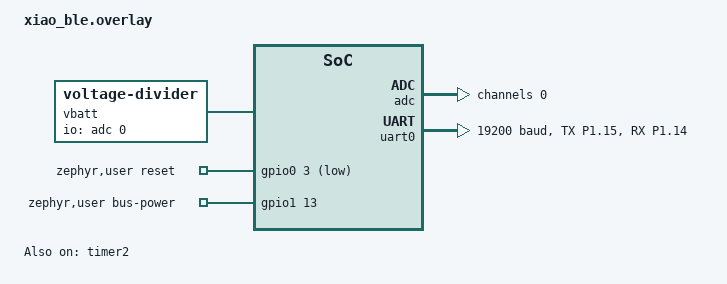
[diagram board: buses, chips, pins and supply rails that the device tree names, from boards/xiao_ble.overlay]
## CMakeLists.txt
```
cmake_minimum_required(VERSION 3.20.0)

find_package(Zephyr REQUIRED HINTS $ENV{ZEPHYR_BASE})

project(espaxa_zigbee)

target_sources(app PRIVATE
	src/main.c
	src/axa.c
	src/motion.c
	src/battery_level.c
)

target_sources_ifdef(CONFIG_ESPAXA_BATTERY app PRIVATE src/battery.c)
```

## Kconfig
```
menu "ESPAXA"

config ESPAXA_UNLOCK_DURATION_MS
	int "Time between OPEN and the chain starting to move (unlocking)"
	range 0 60000
	default 10000

config ESPAXA_OPEN_DURATION_MS
	int "Time for the chain to travel from closed to fully open"
	range 1000 600000
	default 50000

config ESPAXA_LOCK_DURATION_MS
	int "Time after reaching closed before the window is locked"
	range 0 120000
	default 45000
	help
	  Upper bound only: a STATUS of 211 ends the wait early. Measured 22 to
	  32 s after the estimate reached closed (2026-10-30 and 2026-11-01).

config ESPAXA_RELEASE_BEFORE_CLOSE
	bool "Send a short OPEN before each CLOSE"
	default y
	help
	  From galagaking/espaxa: the AXA blocks at its end position and an
	  OPEN releases it. On this unit the pair has twice made the AXA open
	  instead of close, from fully open and from closed.

config ESPAXA_STATUS_INTERVAL_MS
	int "AXA STATUS poll interval while idle"
	range 10000 86400000
	default 600000
	help
	  Detects use of the buttons on the AXA itself. Every poll wakes the
	  AXA, so keep this long on batteries.

config ESPAXA_BUS_POWER_SETTLE_MS
	int "Delay after switching on the AXA bus pull-up"
	range 0 1000
	default 50
	help
	  D8 switches battery voltage onto RJ12 pin 1, which feeds the
	  AXA's bus pull-up, for each serial exchange. This waits for pin 1
	  and DATA to rise before the wake-up newline.

config ESPAXA_MOVING_STATUS_INTERVAL_MS
	int "AXA STATUS poll interval while moving"
	range 500 60000
	default 2000
	help
	  Detects locking before the lock timer runs out.

config ESPAXA_ACTIVITY_LED
	bool "Blink the activity LED while the AXA is busy"
	default y
	help
	  Blinks the LED with the devicetree alias activity-led (the blue
	  LED) during serial exchanges with the AXA and while it moves.
	  Off in the battery build (overlay-battery.conf); there the pin
	  stays unconfigured and the LED dark.

config ESPAXA_BATTERY
	bool "Report the battery level"
	default y
	depends on DT_HAS_VOLTAGE_DIVIDER_ENABLED
	select SENSOR
	help
	  Measures the NiMH pack through the voltage divider on D0 (node
	  vbatt in the board overlay) and reports BatteryVoltage and
	  BatteryPercentageRemaining in a Power Configuration cluster. Without
	  the divider fitted the reading is near 0 V and both are reported as
	  unknown.

config ESPAXA_BATTERY_INTERVAL_MS
	int "Battery measurement interval"
	depends on ESPAXA_BATTERY
	range 60000 86400000
	default 3600000
	help
	  The measurement waits until the AXA has been quiet for a minute,
	  the pack sags while the motor runs.

config ESPAXA_BATTERY_CELLS
	int "NiMH cells in series"
	depends on ESPAXA_BATTERY
	range 1 8
	default 4

config ESPAXA_ZIGBEE_POLL_INTERVAL_MS
	int "Zigbee parent poll interval"
	range 250 7500
	default 5000
	help
	  How often the sleepy end device asks its parent for pending
	  commands, the worst case delay for a command from Home Assistant.
	  Parents drop buffered frames after about 7.7 s, keep this below.

endmenu

module = ESPAXA
module-str = ESPAXA
source "subsys/logging/Kconfig.template.log_config"

source "Kconfig.zephyr"
```

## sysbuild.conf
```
# Fixed partitions come from the board overlay
SB_CONFIG_PARTITION_MANAGER=n
```

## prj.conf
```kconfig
# Default build: logging on the USB serial console, for bring-up.
# For the battery build add overlay-battery.conf, see README.

CONFIG_ZIGBEE_ADD_ON=y
CONFIG_ZIGBEE_APP_UTILS=y
CONFIG_ZIGBEE_ROLE_END_DEVICE=y
# Scan all channels, the coordinator picks its own (Nordic defaults to 16 only)
CONFIG_ZIGBEE_CHANNEL_SELECTION_MODE_MULTI=y

CONFIG_SERIAL=y
CONFIG_UART_INTERRUPT_DRIVEN=y
# The AXA needs 8N2, set with uart_configure(). Nordic SoCs default this off,
# uart_configure() then fails with -ENOTSUP and the AXA thread never starts.
CONFIG_UART_USE_RUNTIME_CONFIGURE=y
CONFIG_GPIO=y
# Reset cause for the boot message
CONFIG_HWINFO=y

# Suspend the AXA UART between transactions, its receiver keeps the
# high frequency clock running otherwise
CONFIG_PM_DEVICE=y
CONFIG_RAM_POWER_DOWN_LIBRARY=y

CONFIG_HEAP_MEM_POOL_SIZE=2048
CONFIG_MAIN_THREAD_PRIORITY=7
CONFIG_SYSTEM_WORKQUEUE_STACK_SIZE=2048

# USB serial console with logging
CONFIG_BOARD_SERIAL_BACKEND_CDC_ACM=y
CONFIG_CONSOLE=y
CONFIG_UART_CONSOLE=y
CONFIG_LOG=y
CONFIG_ESPAXA_LOG_LEVEL_DBG=y
# Detect a terminal opening the console (DTR), to repeat the boot message
CONFIG_UART_LINE_CTRL=y

# Room for the bus traces of a whole exchange with retries
CONFIG_LOG_BUFFER_SIZE=16384

# Debug shell on the USB console: axa open/close/stop/goto, and bootloader.
# Logs go through the shell's backend.
CONFIG_SHELL=y
CONFIG_SHELL_BACKEND_SERIAL=y
CONFIG_SHELL_BACKEND_SERIAL_CHECK_DTR=y
CONFIG_SHELL_VT100_COLORS=n
CONFIG_SHELL_PROMPT_UART="axa> "
CONFIG_LOG_BACKEND_UART=n
CONFIG_REBOOT=y
```

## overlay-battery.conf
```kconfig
# Battery build: no USB, no console, no logging, no LED

CONFIG_BOARD_SERIAL_BACKEND_CDC_ACM=n
CONFIG_CONSOLE=n
CONFIG_UART_CONSOLE=n
CONFIG_LOG=n
CONFIG_UART_LINE_CTRL=n
CONFIG_ESPAXA_ACTIVITY_LED=n
CONFIG_SHELL=n
CONFIG_LOG_BACKEND_UART=n
```

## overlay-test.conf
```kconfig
# Bench testing: poll STATUS every 30 s while idle instead of every 10 min,
# so use of the AXA buttons shows up quickly. Not for battery use.
CONFIG_ESPAXA_STATUS_INTERVAL_MS=30000
```

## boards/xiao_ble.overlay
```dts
/*
 * Seeed XIAO nRF52840
 *
 * AXA data line: a single-wire bus. D10 (TX, P1.15) and D9 (RX, P1.14) are tied
 * together and the common line goes to the level shifter. TX is open drain,
 * so the pull-ups (the AXA's own, the shifter's on the 3.3 V side) hold the
 * line high and either side can pull it low; a push-pull TX would fight the
 * AXA's replies. RX hears our own
 * transmissions too, the echo is skipped in axa.c.
 * Factory reset: connect D1 (P0.03) to GND while resetting.
 * Activity LED: the blue LED of the RGB LED (P0.06), see CONFIG_ESPAXA_ACTIVITY_LED.
 * Battery: battery bay + -- 4.7M -- D0 (P0.02, AIN0) -- 2.2M -- GND, with 100 nF
 * from D0 to GND. The XIAO's own battery sense (P0.31) measures the LiPo pad,
 * so it cannot see the AXA's battery pack.
 */

#include <zephyr/dt-bindings/adc/adc.h>
#include <zephyr/dt-bindings/adc/nrf-saadc.h>

/ {
	chosen {
		ncs,zigbee-timer = &timer2;
	};

	/*
	 * Divider ratio 2.2 / 6.9: 6.6 V (4 fresh alkaline cells) -> 2.1 V at D0,
	 * inside the 3.6 V range. It draws under 1 uA. The capacitor supplies the ADC's
	 * sampling charge, the divider alone is too high-impedance for it.
	 */
	vbatt: vbatt {
		compatible = "voltage-divider";
		io-channels = <&adc 0>;
		output-ohms = <2200000>;
		full-ohms = <(4700000 + 2200000)>;
	};

	zephyr,user {
		reset-gpios = <&gpio0 3 (GPIO_PULL_UP | GPIO_ACTIVE_LOW)>;
		/*
		 * D8 (P1.13): switches battery voltage onto RJ12 pin 1 during an
		 * exchange. The AXA's bus pull-up hangs off pin 1, which is dead on
		 * batteries. See HARDWARE.md.
		 */
		bus-power-gpios = <&gpio1 13 GPIO_ACTIVE_HIGH>;
	};

	aliases {
		axa-uart = &uart0;
		activity-led = &led2;
	};
};

&adc {
	#address-cells = <1>;
	#size-cells = <0>;

	channel@0 {
		reg = <0>;
		zephyr,gain = "ADC_GAIN_1_6";
		zephyr,reference = "ADC_REF_INTERNAL";
		zephyr,acquisition-time = <ADC_ACQ_TIME(ADC_ACQ_TIME_MICROSECONDS, 40)>;
		zephyr,input-positive = <NRF_SAADC_AIN0>;
		zephyr,resolution = <12>;
		zephyr,oversampling = <4>;
	};
};

&timer2 {
	status = "okay";
};

&pinctrl {
	uart0_axa_default: uart0_axa_default {
		group1 {
			psels = <NRF_PSEL(UART_TX, 1, 15)>;
			/*
			 * Open drain with high drive low: release for high, pull low
			 * with at least 6 mA at 0.4 V. Worst case the pin sinks about
			 * 2.1 mA (3.9 kOhm AXA pull-up at 6.6 V, plus the RX pull-up),
			 * more than standard drive guarantees (1 mA). See HARDWARE.md.
			 */
			nordic,drive-mode = <NRF_DRIVE_H0D1>;
		};

		group2 {
			psels = <NRF_PSEL(UART_RX, 1, 14)>;
			bias-pull-up;
		};
	};

	uart0_axa_sleep: uart0_axa_sleep {
		group1 {
			psels = <NRF_PSEL(UART_TX, 1, 15)>,
				<NRF_PSEL(UART_RX, 1, 14)>;
			low-power-enable;
		};
	};
};

&uart0 {
	current-speed = <19200>;
	pinctrl-0 = <&uart0_axa_default>;
	pinctrl-1 = <&uart0_axa_sleep>;
	pinctrl-names = "default", "sleep";
};

/* The board's SPI bus uses D8-D10; D9 and D10 are the AXA bus now */
&spi2 {
	status = "disabled";
};

/*
 * Zigbee needs two partitions on top of settings storage. Take them from the
 * end of the application area, the UF2 bootloader and SoftDevice areas stay.
 *
 * 0x00000 SoftDevice area   (156 kB, unused but kept for the UF2 bootloader)
 * 0x27000 Application       (752 kB)
 * 0xe3000 Storage           (8 kB)
 * 0xe5000 ZBOSS NVRAM       (32 kB)
 * 0xed000 ZBOSS product cfg (4 kB)
 * 0xf4000 UF2 bootloader    (48 kB)
 */
/delete-node/ &code_partition;
/delete-node/ &storage_partition;

&flash0 {
	partitions {
		code_partition: partition@27000 {
			label = "Application";
			reg = <0x00027000 0x000bc000>;
		};

		storage_partition: partition@e3000 {
			label = "Storage";
			reg = <0x000e3000 0x00002000>;
		};

		zboss_nvram: partition@e5000 {
			label = "zboss-nvram";
			reg = <0x000e5000 0x00008000>;
		};

		zboss_product_config: partition@ed000 {
			label = "zboss-product-config";
			reg = <0x000ed000 0x00001000>;
		};
	};
};
```

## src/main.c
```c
/*
 * ESPAXA Zigbee: AXA Remote 2.0 as a battery powered Zigbee window covering
 *
 * Sleepy end device with a Window Covering cluster. The AXA side lives in
 * axa.c, this file maps Zigbee commands onto it and reports the position.
 * A Binary Input cluster reports whether the AXA confirms Strong Locked.
 *
 * Zigbee lift percentage is inverted: 0 = fully open, 100 = fully closed.
 */

#include <zephyr/drivers/gpio.h>
#include <zephyr/drivers/hwinfo.h>
#include <zephyr/drivers/uart.h>
#include <zephyr/kernel.h>
#include <zephyr/logging/log.h>
#include <zephyr/sys/atomic.h>
#include <ram_pwrdn.h>

/* Enables the HA Window Covering device declarations in ZBOSS */
#define ZB_HA_DEFINE_DEVICE_WINDOW_COVERING

#include <zboss_api.h>
#include <zboss_api_addons.h>
#include <zb_nrf_platform.h>
#include <zigbee/zigbee_app_utils.h>
#include <zigbee/zigbee_error_handler.h>

#include "axa.h"
#include "battery.h"
#include "battery_level.h"

LOG_MODULE_REGISTER(app, CONFIG_ESPAXA_LOG_LEVEL);

#define ESPAXA_ENDPOINT 1

/*
 * The HA Window Covering device (5 server clusters), plus Binary Input for
 * the lock and Power Configuration for the battery. Plain numbers: ZBOSS
 * pastes them into type names.
 */
#if defined(CONFIG_ESPAXA_BATTERY)
#define ESPAXA_BATTERY_CLUSTERS 1
#define ESPAXA_IN_CLUSTER_NUM 7
#else
#define ESPAXA_BATTERY_CLUSTERS 0
#define ESPAXA_IN_CLUSTER_NUM 6
#endif
#define ESPAXA_OUT_CLUSTER_NUM 0
/* Battery voltage and percentage remaining are reportable */
#define ESPAXA_REPORT_ATTR_COUNT \
	(ZB_HA_WINDOW_COVERING_REPORT_ATTR_COUNT + ZB_ZCL_BINARY_INPUT_REPORT_ATTR_COUNT + \
	 2 * ESPAXA_BATTERY_CLUSTERS)

/* ZCL: BatteryVoltage in 100 mV, 0xFF and BatteryPercentageRemaining 0xFF = unknown */
#define BATTERY_UNKNOWN 0xFF

#define ESPAXA_MANUF_NAME "espaxa"
#define ESPAXA_MODEL_ID "AXA Remote 2.0"

static const struct gpio_dt_spec reset_pin =
	GPIO_DT_SPEC_GET(DT_PATH(zephyr_user), reset_gpios);

struct espaxa_ctx {
	zb_zcl_basic_attrs_ext_t basic;
	zb_zcl_identify_attrs_t identify;
	zb_uint8_t groups_name_support;
	struct {
		zb_uint8_t scene_count;
		zb_uint8_t current_scene;
		zb_uint16_t current_group;
		zb_bool_t scene_valid;
		zb_uint8_t name_support;
	} scenes;
	struct {
		zb_uint8_t type;
		zb_uint8_t config_status;
		zb_uint8_t lift_percentage;
		zb_uint8_t tilt_percentage;
		zb_uint16_t open_limit_lift;
		zb_uint16_t closed_limit_lift;
		zb_uint16_t open_limit_tilt;
		zb_uint16_t closed_limit_tilt;
		zb_uint8_t mode;
	} wc;
	struct {
		zb_bool_t out_of_service;
		zb_bool_t present_value;
		zb_uint8_t status_flag;
	} lock;
	struct {
		zb_uint8_t voltage;
		zb_uint8_t size;
		zb_uint8_t quantity;
		zb_uint8_t rated_voltage;
		zb_uint8_t remaining;
	} power;
};

static struct espaxa_ctx ctx;

ZB_ZCL_DECLARE_BASIC_ATTRIB_LIST_EXT(
	basic_attr_list,
	&ctx.basic.zcl_version,
	&ctx.basic.app_version,
	&ctx.basic.stack_version,
	&ctx.basic.hw_version,
	ctx.basic.mf_name,
	ctx.basic.model_id,
	ctx.basic.date_code,
	&ctx.basic.power_source,
	ctx.basic.location_id,
	&ctx.basic.ph_env,
	ctx.basic.sw_ver);

ZB_ZCL_DECLARE_IDENTIFY_ATTRIB_LIST(
	identify_attr_list,
	&ctx.identify.identify_time);

ZB_ZCL_DECLARE_GROUPS_ATTRIB_LIST(
	groups_attr_list,
	&ctx.groups_name_support);

ZB_ZCL_DECLARE_SCENES_ATTRIB_LIST(
	scenes_attr_list,
	&ctx.scenes.scene_count,
	&ctx.scenes.current_scene,
	&ctx.scenes.current_group,
	&ctx.scenes.scene_valid,
	&ctx.scenes.name_support);

ZB_ZCL_DECLARE_WINDOW_COVERING_CLUSTER_ATTRIB_LIST(
	window_covering_attr_list,
	&ctx.wc.type,
	&ctx.wc.config_status,
	&ctx.wc.lift_percentage,
	&ctx.wc.tilt_percentage,
	&ctx.wc.open_limit_lift,
	&ctx.wc.closed_limit_lift,
	&ctx.wc.open_limit_tilt,
	&ctx.wc.closed_limit_tilt,
	&ctx.wc.mode);

/*
 * Present value 1 = not Strong Locked, 0 = Strong Locked (211): the polarity of
 * Home Assistant's lock device class, where on means unlocked
 */
ZB_ZCL_DECLARE_BINARY_INPUT_ATTRIB_LIST(
	lock_attr_list,
	&ctx.lock.out_of_service,
	&ctx.lock.present_value,
	&ctx.lock.status_flag);

#if defined(CONFIG_ESPAXA_BATTERY)
/*
 * Declared by hand: ZBOSS's battery list macros either lack the percentage or
 * do not expand (ZB_ZCL_DECLARE_POWER_CONFIG_BATTERY_ATTRIB_LIST_EXT passes a
 * literal "bat_num"). BatteryVoltage is made reportable here, ZBOSS's own
 * descriptor for it is read-only without reporting.
 */
ZB_ZCL_START_DECLARE_ATTRIB_LIST_CLUSTER_REVISION(power_config_attr_list, ZB_ZCL_POWER_CONFIG)
	{
		ZB_ZCL_ATTR_POWER_CONFIG_BATTERY_VOLTAGE_ID,
		ZB_ZCL_ATTR_TYPE_U8,
		ZB_ZCL_ATTR_ACCESS_READ_ONLY | ZB_ZCL_ATTR_ACCESS_REPORTING,
		ZB_ZCL_NON_MANUFACTURER_SPECIFIC,
		(void *)&ctx.power.voltage,
	},
	ZB_SET_ATTR_DESCR_WITH_ZB_ZCL_ATTR_POWER_CONFIG_BATTERY_SIZE_ID(&ctx.power.size, ),
	ZB_SET_ATTR_DESCR_WITH_ZB_ZCL_ATTR_POWER_CONFIG_BATTERY_QUANTITY_ID(&ctx.power.quantity, ),
	ZB_SET_ATTR_DESCR_WITH_ZB_ZCL_ATTR_POWER_CONFIG_BATTERY_RATED_VOLTAGE_ID(
		&ctx.power.rated_voltage, ),
	ZB_SET_ATTR_DESCR_WITH_ZB_ZCL_ATTR_POWER_CONFIG_BATTERY_PERCENTAGE_REMAINING_ID(
		&ctx.power.remaining, ),
ZB_ZCL_FINISH_DECLARE_ATTRIB_LIST;
#endif

/* As ZB_HA_DECLARE_WINDOW_COVERING_CLUSTER_LIST, plus Power Configuration */
static zb_zcl_cluster_desc_t espaxa_clusters[] = {
	ZB_ZCL_CLUSTER_DESC(ZB_ZCL_CLUSTER_ID_IDENTIFY, ZB_ZCL_ARRAY_SIZE(identify_attr_list, zb_zcl_attr_t),
			    (identify_attr_list), ZB_ZCL_CLUSTER_SERVER_ROLE, ZB_ZCL_MANUF_CODE_INVALID),
	ZB_ZCL_CLUSTER_DESC(ZB_ZCL_CLUSTER_ID_BASIC, ZB_ZCL_ARRAY_SIZE(basic_attr_list, zb_zcl_attr_t),
			    (basic_attr_list), ZB_ZCL_CLUSTER_SERVER_ROLE, ZB_ZCL_MANUF_CODE_INVALID),
	ZB_ZCL_CLUSTER_DESC(ZB_ZCL_CLUSTER_ID_WINDOW_COVERING, ZB_ZCL_ARRAY_SIZE(window_covering_attr_list, zb_zcl_attr_t),
			    (window_covering_attr_list), ZB_ZCL_CLUSTER_SERVER_ROLE, ZB_ZCL_MANUF_CODE_INVALID),
	ZB_ZCL_CLUSTER_DESC(ZB_ZCL_CLUSTER_ID_SCENES, ZB_ZCL_ARRAY_SIZE(scenes_attr_list, zb_zcl_attr_t),
			    (scenes_attr_list), ZB_ZCL_CLUSTER_SERVER_ROLE, ZB_ZCL_MANUF_CODE_INVALID),
	ZB_ZCL_CLUSTER_DESC(ZB_ZCL_CLUSTER_ID_GROUPS, ZB_ZCL_ARRAY_SIZE(groups_attr_list, zb_zcl_attr_t),
			    (groups_attr_list), ZB_ZCL_CLUSTER_SERVER_ROLE, ZB_ZCL_MANUF_CODE_INVALID),
	ZB_ZCL_CLUSTER_DESC(ZB_ZCL_CLUSTER_ID_BINARY_INPUT, ZB_ZCL_ARRAY_SIZE(lock_attr_list, zb_zcl_attr_t),
			    (lock_attr_list), ZB_ZCL_CLUSTER_SERVER_ROLE, ZB_ZCL_MANUF_CODE_INVALID),
#if defined(CONFIG_ESPAXA_BATTERY)
	ZB_ZCL_CLUSTER_DESC(ZB_ZCL_CLUSTER_ID_POWER_CONFIG, ZB_ZCL_ARRAY_SIZE(power_config_attr_list, zb_zcl_attr_t),
			    (power_config_attr_list), ZB_ZCL_CLUSTER_SERVER_ROLE, ZB_ZCL_MANUF_CODE_INVALID),
#endif
};

/* One level of indirection, so the counts expand before ZBOSS pastes them */
#define DECLARE_SIMPLE_DESC(in_num, out_num) ZB_DECLARE_SIMPLE_DESC(in_num, out_num)
DECLARE_SIMPLE_DESC(ESPAXA_IN_CLUSTER_NUM, ESPAXA_OUT_CLUSTER_NUM);

static ZB_AF_SIMPLE_DESC_TYPE(ESPAXA_IN_CLUSTER_NUM, ESPAXA_OUT_CLUSTER_NUM) simple_desc_espaxa_ep = {
	ESPAXA_ENDPOINT,
	ZB_AF_HA_PROFILE_ID,
	ZB_HA_WINDOW_COVERING_DEVICE_ID,
	ZB_HA_DEVICE_VER_WINDOW_COVERING,
	0,
	ESPAXA_IN_CLUSTER_NUM,
	ESPAXA_OUT_CLUSTER_NUM,
	{
		ZB_ZCL_CLUSTER_ID_BASIC,
		ZB_ZCL_CLUSTER_ID_IDENTIFY,
		ZB_ZCL_CLUSTER_ID_WINDOW_COVERING,
		ZB_ZCL_CLUSTER_ID_SCENES,
		ZB_ZCL_CLUSTER_ID_GROUPS,
		ZB_ZCL_CLUSTER_ID_BINARY_INPUT,
#if defined(CONFIG_ESPAXA_BATTERY)
		ZB_ZCL_CLUSTER_ID_POWER_CONFIG,
#endif
	},
};

ZBOSS_DEVICE_DECLARE_REPORTING_CTX(reporting_info_espaxa_ep, ESPAXA_REPORT_ATTR_COUNT);

ZB_AF_DECLARE_ENDPOINT_DESC(espaxa_ep, ESPAXA_ENDPOINT, ZB_AF_HA_PROFILE_ID, 0, NULL,
			    ZB_ZCL_ARRAY_SIZE(espaxa_clusters, zb_zcl_cluster_desc_t),
			    espaxa_clusters, (zb_af_simple_desc_1_1_t *)&simple_desc_espaxa_ep,
			    ESPAXA_REPORT_ATTR_COUNT, reporting_info_espaxa_ep, 0, NULL);

ZBOSS_DECLARE_DEVICE_CTX_1_EP(
	espaxa_device_ctx,
	espaxa_ep);

static void clusters_attr_init(void)
{
	ctx.basic.zcl_version = ZB_ZCL_VERSION;
	ctx.basic.power_source = ZB_ZCL_BASIC_POWER_SOURCE_BATTERY;
	ZB_ZCL_SET_STRING_VAL(ctx.basic.mf_name, ESPAXA_MANUF_NAME,
			      ZB_ZCL_STRING_CONST_SIZE(ESPAXA_MANUF_NAME));
	ZB_ZCL_SET_STRING_VAL(ctx.basic.model_id, ESPAXA_MODEL_ID,
			      ZB_ZCL_STRING_CONST_SIZE(ESPAXA_MODEL_ID));

	ctx.identify.identify_time = ZB_ZCL_IDENTIFY_IDENTIFY_TIME_DEFAULT_VALUE;

	ctx.wc.type = ZB_ZCL_ATTR_WINDOW_COVERING_TYPE_ROLLERSHADE;
	ctx.wc.config_status = ZB_ZCL_ATTR_WINDOW_COVERING_CONFIG_OPERATIONAL |
			       ZB_ZCL_ATTR_WINDOW_COVERING_CONFIG_ONLINE;
	/* Closed until the first AXA STATUS says otherwise */
	ctx.wc.lift_percentage = 100;
	ctx.wc.tilt_percentage = ZB_ZCL_WINDOW_COVERING_CURRENT_POSITION_TILT_PERCENTAGE_DEFAULT_VALUE;
	ctx.wc.open_limit_lift = ZB_ZCL_WINDOW_COVERING_INSTALLED_OPEN_LIMIT_LIFT_DEFAULT_VALUE;
	ctx.wc.closed_limit_lift = ZB_ZCL_WINDOW_COVERING_INSTALLED_CLOSED_LIMIT_LIFT_DEFAULT_VALUE;
	ctx.wc.open_limit_tilt = ZB_ZCL_WINDOW_COVERING_INSTALLED_OPEN_LIMIT_TILT_DEFAULT_VALUE;
	ctx.wc.closed_limit_tilt = ZB_ZCL_WINDOW_COVERING_INSTALLED_CLOSED_LIMIT_TILT_DEFAULT_VALUE;
	ctx.wc.mode = 0;

	/* Not locked until a STATUS confirms it */
	ctx.lock.out_of_service = ZB_ZCL_BINARY_INPUT_OUT_OF_SERVICE_DEFAULT_VALUE;
	ctx.lock.present_value = ZB_TRUE;
	ctx.lock.status_flag = ZB_ZCL_BINARY_INPUT_STATUS_FLAG_DEFAULT_VALUE;

#if defined(CONFIG_ESPAXA_BATTERY)
	ctx.power.voltage = BATTERY_UNKNOWN;
	ctx.power.size = ZB_ZCL_POWER_CONFIG_BATTERY_SIZE_AA;
	ctx.power.quantity = CONFIG_ESPAXA_BATTERY_CELLS;
	/* Per cell, in 100 mV: NiMH 1.2 V */
	ctx.power.rated_voltage = 12;
	ctx.power.remaining = BATTERY_UNKNOWN;
#endif
}

/* Runs in the Zigbee thread, scheduled from the AXA thread. */
static void set_lift_percentage(zb_uint8_t lift)
{
	zb_zcl_status_t status = zb_zcl_set_attr_val(
		ESPAXA_ENDPOINT, ZB_ZCL_CLUSTER_ID_WINDOW_COVERING, ZB_ZCL_CLUSTER_SERVER_ROLE,
		ZB_ZCL_ATTR_WINDOW_COVERING_CURRENT_POSITION_LIFT_PERCENTAGE_ID, &lift, ZB_FALSE);

	if (status != ZB_ZCL_STATUS_SUCCESS) {
		LOG_WRN("Cannot set lift percentage (status %d)", status);
	}
}

static int on_axa_position(uint8_t open_percent)
{
	LOG_INF("Position %u%% open", open_percent);
	if (zigbee_schedule_callback(set_lift_percentage, 100 - open_percent) != RET_OK) {
		LOG_WRN("Cannot schedule position report, retrying");
		return -EAGAIN;
	}
	return 0;
}

static void report_attr(zb_uint16_t cluster, zb_uint16_t attr);

/* Runs in the Zigbee thread, scheduled from the AXA thread. */
static void set_strong_locked(zb_uint8_t locked)
{
	zb_bool_t value = locked ? ZB_FALSE : ZB_TRUE;
	zb_zcl_status_t status = zb_zcl_set_attr_val(
		ESPAXA_ENDPOINT, ZB_ZCL_CLUSTER_ID_BINARY_INPUT, ZB_ZCL_CLUSTER_SERVER_ROLE,
		ZB_ZCL_ATTR_BINARY_INPUT_PRESENT_VALUE_ID, (zb_uint8_t *)&value, ZB_FALSE);

	if (status != ZB_ZCL_STATUS_SUCCESS) {
		LOG_WRN("Cannot set lock state (status %d)", status);
	}
	report_attr(ZB_ZCL_CLUSTER_ID_BINARY_INPUT, ZB_ZCL_ATTR_BINARY_INPUT_PRESENT_VALUE_ID);
}

/* Last lock state handed to Zigbee, -1 before the first STATUS */
static int reported_locked = -1;

static void on_axa_lock(bool strong_locked)
{
	if (strong_locked == reported_locked) {
		return;
	}
	LOG_INF("%s", strong_locked ? "Strong Locked" : "Not Strong Locked");
	/* On failure the next STATUS tries again */
	if (zigbee_schedule_callback(set_strong_locked, strong_locked) == RET_OK) {
		reported_locked = strong_locked;
	} else {
		LOG_WRN("Cannot schedule lock report");
	}
}

#if defined(CONFIG_ESPAXA_BATTERY)
/* Latest pack voltage, handed from the system work queue to the ZBOSS thread */
static atomic_t battery_mv;

static void set_attr_u8(zb_uint16_t cluster, zb_uint16_t attr, zb_uint8_t value)
{
	zb_zcl_status_t status = zb_zcl_set_attr_val(ESPAXA_ENDPOINT, cluster,
						     ZB_ZCL_CLUSTER_SERVER_ROLE, attr, &value,
						     ZB_FALSE);

	if (status != ZB_ZCL_STATUS_SUCCESS) {
		LOG_WRN("Cannot set attribute 0x%04x/0x%04x (status %d)", cluster, attr, status);
	}
}

/* Runs in the Zigbee thread, scheduled from on_battery(). */
static void set_battery_attrs(zb_uint8_t unused)
{
	int pack_mv = (int)atomic_get(&battery_mv);
	int cell_mv = pack_mv / CONFIG_ESPAXA_BATTERY_CELLS;
	zb_uint8_t voltage = BATTERY_UNKNOWN;
	zb_uint8_t remaining = BATTERY_UNKNOWN;

	ARG_UNUSED(unused);

	if (cell_mv >= BATTERY_LEVEL_MIN_VALID_CELL_MV) {
		voltage = (zb_uint8_t)MIN((pack_mv + 50) / 100, 0xFE);
		/* In half percent */
		remaining = 2 * battery_level_percent(cell_mv);
	}
	set_attr_u8(ZB_ZCL_CLUSTER_ID_POWER_CONFIG, ZB_ZCL_ATTR_POWER_CONFIG_BATTERY_VOLTAGE_ID,
		    voltage);
	set_attr_u8(ZB_ZCL_CLUSTER_ID_POWER_CONFIG,
		    ZB_ZCL_ATTR_POWER_CONFIG_BATTERY_PERCENTAGE_REMAINING_ID, remaining);
}

static void on_battery(int pack_mv)
{
	int cell_mv = pack_mv / CONFIG_ESPAXA_BATTERY_CELLS;

	if (cell_mv < BATTERY_LEVEL_MIN_VALID_CELL_MV) {
		LOG_WRN("Battery %d mV, no divider on D0? Reporting unknown", pack_mv);
	} else {
		LOG_INF("Battery %d mV, %u%%", pack_mv, battery_level_percent(cell_mv));
	}
	atomic_set(&battery_mv, pack_mv);
	if (zigbee_schedule_callback(set_battery_attrs, 0) != RET_OK) {
		LOG_WRN("Cannot schedule battery report");
	}
}
#endif

static void zcl_device_cb(zb_bufid_t bufid)
{
	zb_zcl_device_callback_param_t *param =
		ZB_BUF_GET_PARAM(bufid, zb_zcl_device_callback_param_t);

	param->status = RET_OK;

	switch (param->device_cb_id) {
	case ZB_ZCL_WINDOW_COVERING_UP_OPEN_CB_ID:
		LOG_INF("Open");
		axa_move_to(100);
		break;

	case ZB_ZCL_WINDOW_COVERING_DOWN_CLOSE_CB_ID:
		LOG_INF("Close");
		axa_move_to(0);
		break;

	case ZB_ZCL_WINDOW_COVERING_STOP_CB_ID:
		LOG_INF("Stop");
		axa_stop();
		break;

	case ZB_ZCL_WINDOW_COVERING_GO_TO_LIFT_PERCENTAGE_CB_ID: {
		const zb_zcl_go_to_lift_percentage_req_t *req = param->cb_param.gnr.in;

		LOG_INF("Go to lift %u%%", req->percentage_lift_value);
		axa_move_to(100 - req->percentage_lift_value);
		break;
	}

	default:
		param->status = RET_NOT_IMPLEMENTED;
		break;
	}
}

/*
 * Reports go out only on a change, so one lost while the device was not on
 * the network (e.g. the first STATUS after boot, before the rejoin) would
 * stick until the next move. Report the state again after each (re)join.
 */
static void report_attr(zb_uint16_t cluster, zb_uint16_t attr)
{
	zb_zcl_reporting_info_t *info = zb_zcl_find_reporting_info(
		ESPAXA_ENDPOINT, cluster, ZB_ZCL_CLUSTER_SERVER_ROLE, attr);

	if (info == NULL) {
		LOG_WRN("No reporting configured for 0x%04x/0x%04x", cluster, attr);
		return;
	}
	LOG_DBG("Reporting 0x%04x/0x%04x: min %u s, max %u s, flags 0x%02x, to 0x%04x ep %u",
		cluster, attr, info->u.send_info.min_interval, info->u.send_info.max_interval,
		info->flags, info->dst.short_addr, info->dst.endpoint);
	zb_zcl_mark_attr_for_reporting(ESPAXA_ENDPOINT, cluster, ZB_ZCL_CLUSTER_SERVER_ROLE, attr);
}

static void report_state(void)
{
	report_attr(ZB_ZCL_CLUSTER_ID_WINDOW_COVERING,
		    ZB_ZCL_ATTR_WINDOW_COVERING_CURRENT_POSITION_LIFT_PERCENTAGE_ID);
	report_attr(ZB_ZCL_CLUSTER_ID_BINARY_INPUT, ZB_ZCL_ATTR_BINARY_INPUT_PRESENT_VALUE_ID);
}

void zboss_signal_handler(zb_bufid_t bufid)
{
	zb_zdo_app_signal_hdr_t *sig_hdr = NULL;
	zb_zdo_app_signal_type_t sig = zb_get_app_signal(bufid, &sig_hdr);
	zb_ret_t status = ZB_GET_APP_SIGNAL_STATUS(bufid);

	switch (sig) {
	case ZB_BDB_SIGNAL_DEVICE_REBOOT:
	case ZB_BDB_SIGNAL_STEERING:
		ZB_ERROR_CHECK(zigbee_default_signal_handler(bufid));
		if (status == RET_OK) {
			/* Worst case delay for commands from Home Assistant */
			zb_zdo_pim_set_long_poll_interval(CONFIG_ESPAXA_ZIGBEE_POLL_INTERVAL_MS);
			report_state();
		}
		break;

	default:
		ZB_ERROR_CHECK(zigbee_default_signal_handler(bufid));
		break;
	}

	if (bufid) {
		zb_buf_free(bufid);
	}
}

/* ------------------------------------------------------------------------- */
/* Boot message                                                              */
/* ------------------------------------------------------------------------- */

static uint32_t reset_cause;

static void log_boot_banner(void)
{
	static const struct {
		uint32_t flag;
		const char *name;
	} causes[] = {
		{RESET_POR, "power on"},
		{RESET_PIN, "reset pin"},
		{RESET_SOFTWARE, "software"},
		{RESET_BROWNOUT, "brownout"},
		{RESET_WATCHDOG, "watchdog"},
		{RESET_CPU_LOCKUP, "CPU lockup"},
		{RESET_DEBUG, "debugger"},
		{RESET_LOW_POWER_WAKE, "wake from system off"},
	};

	LOG_INF("ESPAXA Zigbee, built " __DATE__ " " __TIME__);
	LOG_INF("Uptime %lld s, reset cause 0x%08x", k_uptime_get() / 1000, reset_cause);
	for (size_t i = 0; i < ARRAY_SIZE(causes); i++) {
		if (reset_cause & causes[i].flag) {
			LOG_INF("  %s", causes[i].name);
		}
	}
	LOG_INF("Zigbee poll %d ms, AXA STATUS every %d s idle / %d ms moving",
		CONFIG_ESPAXA_ZIGBEE_POLL_INTERVAL_MS, CONFIG_ESPAXA_STATUS_INTERVAL_MS / 1000,
		CONFIG_ESPAXA_MOVING_STATUS_INTERVAL_MS);
}

/*
 * The USB console drops output while no terminal is open, so whatever is
 * logged at boot is usually lost. Repeat the banner each time a terminal
 * connects (DTR goes high). Only in builds with the USB console.
 */
#if DT_NODE_HAS_COMPAT(DT_CHOSEN(zephyr_console), zephyr_cdc_acm_uart) && \
	defined(CONFIG_UART_LINE_CTRL) && defined(CONFIG_LOG)
#define CONSOLE_WATCH_INTERVAL K_MSEC(500)

static const struct device *const console = DEVICE_DT_GET(DT_CHOSEN(zephyr_console));

static void console_watch(struct k_work *work)
{
	static bool connected;
	uint32_t dtr = 0;

	/* An error (e.g. USB not configured yet) counts as not connected */
	if (uart_line_ctrl_get(console, UART_LINE_CTRL_DTR, &dtr) != 0) {
		dtr = 0;
	}
	if (dtr && !connected) {
		log_boot_banner();
	}
	connected = dtr;
	k_work_schedule(k_work_delayable_from_work(work), CONSOLE_WATCH_INTERVAL);
}

static K_WORK_DELAYABLE_DEFINE(console_work, console_watch);

static void console_watch_start(void)
{
	k_work_schedule(&console_work, CONSOLE_WATCH_INTERVAL);
}
#else
static void console_watch_start(void)
{
}
#endif

#if defined(CONFIG_SHELL)
#include <stdlib.h>
#include <zephyr/shell/shell.h>
#include <zephyr/sys/reboot.h>
#include <hal/nrf_power.h>

/* Debug shell on the USB console, to drive the AXA without Home Assistant */

static int cmd_open(const struct shell *sh, size_t argc, char **argv)
{
	axa_move_to(100);
	return 0;
}

static int cmd_close(const struct shell *sh, size_t argc, char **argv)
{
	axa_move_to(0);
	return 0;
}

static int cmd_stop(const struct shell *sh, size_t argc, char **argv)
{
	axa_stop();
	return 0;
}

static int cmd_goto(const struct shell *sh, size_t argc, char **argv)
{
	int percent = atoi(argv[1]);

	if (percent < 0 || percent > 100) {
		shell_error(sh, "0 (closed) to 100 (open)");
		return -EINVAL;
	}
	axa_move_to((uint8_t)percent);
	return 0;
}

/* The XIAO's Adafruit bootloader stays in UF2 mode after a reset with this */
#define UF2_BOOTLOADER_MAGIC 0x57

static int cmd_bootloader(const struct shell *sh, size_t argc, char **argv)
{
	nrf_power_gpregret_set(NRF_POWER, 0, UF2_BOOTLOADER_MAGIC);
	sys_reboot(SYS_REBOOT_COLD);
	return 0;
}

SHELL_STATIC_SUBCMD_SET_CREATE(axa_cmds,
	SHELL_CMD(open, NULL, "Open fully", cmd_open),
	SHELL_CMD(close, NULL, "Close and lock", cmd_close),
	SHELL_CMD(stop, NULL, "Stop", cmd_stop),
	SHELL_CMD_ARG(goto, NULL, "Go to <percent open>", cmd_goto, 2, 0),
	SHELL_SUBCMD_SET_END);
SHELL_CMD_REGISTER(axa, &axa_cmds, "Drive the AXA", NULL);
SHELL_CMD_REGISTER(bootloader, NULL, "Reboot into the UF2 bootloader", cmd_bootloader);
#endif

/* Factory reset when the reset pin is held low at boot. */
static bool factory_reset_requested(void)
{
	bool requested = false;

	if (gpio_is_ready_dt(&reset_pin) && gpio_pin_configure_dt(&reset_pin, GPIO_INPUT) == 0) {
		k_msleep(10);
		requested = gpio_pin_get_dt(&reset_pin) == 1;
	}
	/* Drop the pull-up again, a jumper left in place would draw current */
	(void)gpio_pin_configure_dt(&reset_pin, GPIO_DISCONNECTED);

	return requested;
}

int main(void)
{
	if (hwinfo_get_reset_cause(&reset_cause) == 0) {
		/* The cause register accumulates until cleared */
		(void)hwinfo_clear_reset_cause();
	}
	log_boot_banner();
	console_watch_start();

	if (factory_reset_requested()) {
		LOG_INF("Factory reset");
		zigbee_erase_persistent_storage(ZB_TRUE);
	}

	zb_set_ed_timeout(ED_AGING_TIMEOUT_64MIN);
	zb_set_keepalive_timeout(ZB_MILLISECONDS_TO_BEACON_INTERVAL(30000));
	zigbee_configure_sleepy_behavior(true);

	if (IS_ENABLED(CONFIG_RAM_POWER_DOWN_LIBRARY)) {
		power_down_unused_ram();
	}

	ZB_ZCL_REGISTER_DEVICE_CB(zcl_device_cb);
	ZB_AF_REGISTER_DEVICE_CTX(&espaxa_device_ctx);
	clusters_attr_init();

	zigbee_enable();

	if (axa_init(on_axa_position, on_axa_lock) != 0) {
		LOG_ERR("AXA init failed");
	}

#if defined(CONFIG_ESPAXA_BATTERY)
	if (battery_init(on_battery) != 0) {
		LOG_ERR("Battery measurement init failed");
	}
#endif

	return 0;
}
```

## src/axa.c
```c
/*
 * AXA Remote 2.0 driver
 *
 * Serial protocol: 19200 baud, 8N2. The AXA sleeps between commands, a bare
 * carriage return wakes it up. Commands end with "\r" only: the AXA answers
 * as soon as it sees the "\r", and on the half-duplex bus a trailing "\n"
 * collides with the start of its reply (seen in bus traces, 2026-10-30).
 * Each command is answered with a line starting with a three digit code,
 * e.g. "211 Locked". The AXA only reports locked or
 * unlocked, the position in between is estimated from travel time.
 *
 * Everything here runs in the AXA thread, which blocks on the serial line and
 * on its request queue. The UART is suspended between transactions, its
 * receiver would otherwise keep the high frequency clock running. What to
 * send when, and the position estimate, live in motion.c.
 */

#include "axa.h"
#include "motion.h"

#include <ctype.h>
#include <stdlib.h>
#include <string.h>

#include <zephyr/device.h>
#include <zephyr/drivers/gpio.h>
#include <zephyr/drivers/uart.h>
#include <zephyr/kernel.h>
#include <zephyr/logging/log.h>
#include <zephyr/pm/device.h>
#include <zephyr/sys/atomic.h>
#include <zephyr/sys/util.h>

LOG_MODULE_REGISTER(axa, CONFIG_ESPAXA_LOG_LEVEL);

/* After the wake-up CR: at least this long, then until the bus is quiet */
#define WAKE_DELAY_MS 50
#define WAKE_QUIET_MS 30
#define WAKE_MAX_MS 500
#define RESPONSE_TIMEOUT_MS 1000
/* Pause between transactions, the AXA ignores commands sent back to back */
#define COMMAND_GAP_MS 200
#define MAX_RETRIES 2
/* Position estimate update rate while moving */
#define MOTION_TICK_MS 500
/* Minimum time between position reports while moving */
#define REPORT_INTERVAL_MS 2000
/* Gap between the two reports of a failed command, so both are sent */
#define FAILURE_BOUNCE_GAP_MS 500
#define LINE_MAX 64
/* Activity LED toggle period, 2 Hz blink */
#define LED_TOGGLE_MS 250

#define THREAD_STACK_SIZE 2048
#define THREAD_PRIORITY 8

struct request {
	bool stop;
	uint8_t open_percent;
};

/* Holds one request: only the latest one matters, a new one replaces it */
K_MSGQ_DEFINE(request_q, sizeof(struct request), 1, 4);
K_MSGQ_DEFINE(rx_q, sizeof(uint8_t), 128, 1);

K_THREAD_STACK_DEFINE(axa_stack, THREAD_STACK_SIZE);
static struct k_thread axa_thread_data;

static const struct device *const uart = DEVICE_DT_GET(DT_ALIAS(axa_uart));
/* Feeds the AXA's bus pull-up through RJ12 pin 1, only during an exchange */
static const struct gpio_dt_spec bus_power =
	GPIO_DT_SPEC_GET(DT_PATH(zephyr_user), bus_power_gpios);
static axa_position_cb_t position_cb;
static axa_lock_cb_t lock_cb;
static struct motion motion;
static bool in_transaction;

/* ------------------------------------------------------------------------- */
/* Activity                                                                  */
/* ------------------------------------------------------------------------- */

/*
 * Read by other threads through axa_quiet_ms(). Not busy until axa_init()
 * succeeds, so a missing AXA UART does not block the battery measurement.
 */
static atomic_t busy_flag;
static atomic_t quiet_since_ms;

#define ACTIVITY_LED_NODE DT_ALIAS(activity_led)

#if defined(CONFIG_ESPAXA_ACTIVITY_LED) && DT_NODE_EXISTS(ACTIVITY_LED_NODE)
static const struct gpio_dt_spec activity_led = GPIO_DT_SPEC_GET(ACTIVITY_LED_NODE, gpios);

static void led_toggle(struct k_timer *timer)
{
	ARG_UNUSED(timer);
	(void)gpio_pin_toggle_dt(&activity_led);
}

static K_TIMER_DEFINE(led_timer, led_toggle, NULL);

static void led_init(void)
{
	if (!gpio_is_ready_dt(&activity_led) ||
	    gpio_pin_configure_dt(&activity_led, GPIO_OUTPUT_INACTIVE) != 0) {
		LOG_WRN("Activity LED not available");
	}
}

/* Blink while busy, off otherwise */
static void led_set(bool busy)
{
	if (busy) {
		(void)gpio_pin_set_dt(&activity_led, 1);
		k_timer_start(&led_timer, K_MSEC(LED_TOGGLE_MS), K_MSEC(LED_TOGGLE_MS));
	} else {
		k_timer_stop(&led_timer);
		(void)gpio_pin_set_dt(&activity_led, 0);
	}
}
#else
static void led_init(void)
{
}

static void led_set(bool busy)
{
	ARG_UNUSED(busy);
}
#endif

/* Busy from the start of the boot exchange */
static void activity_init(void)
{
	led_init();
	atomic_set(&busy_flag, 1);
	led_set(true);
}

/* Busy while talking to the AXA or while it moves. */
static void activity_update(void)
{
	bool busy = in_transaction || motion.phase != PHASE_IDLE;

	if (busy == (bool)atomic_get(&busy_flag)) {
		return;
	}
	if (!busy) {
		atomic_set(&quiet_since_ms, (atomic_val_t)k_uptime_get_32());
	}
	atomic_set(&busy_flag, busy);
	led_set(busy);
}

uint32_t axa_quiet_ms(void)
{
	if (atomic_get(&busy_flag)) {
		return 0;
	}
	return k_uptime_get_32() - (uint32_t)atomic_get(&quiet_since_ms);
}

/* ------------------------------------------------------------------------- */
/* Serial                                                                    */
/* ------------------------------------------------------------------------- */

/*
 * Byte trace of each exchange for the debug build: every byte sent and
 * received with its time, dumped after the exchange. Shows the AXA's timing
 * on the half-duplex bus. Compiled out unless the log level is debug.
 */
#if defined(CONFIG_LOG) && (CONFIG_ESPAXA_LOG_LEVEL >= LOG_LEVEL_DBG)
#define BUS_TRACE 1
#else
#define BUS_TRACE 0
#endif
#define TRACE_MAX 512

enum trace_dir {
	TRACE_TX,
	TRACE_RX,
	TRACE_ERR,
};

struct trace_entry {
	uint16_t ms;
	uint8_t dir;
	uint8_t c;
};

static __maybe_unused struct trace_entry trace[BUS_TRACE ? TRACE_MAX : 1];
static size_t trace_len;
static int64_t trace_start;

static void trace_add(enum trace_dir dir, uint8_t c)
{
	if (!BUS_TRACE) {
		return;
	}

	unsigned int key = irq_lock();

	if (trace_len < TRACE_MAX) {
		trace[trace_len++] = (struct trace_entry){
			.ms = (uint16_t)(k_uptime_get() - trace_start),
			.dir = dir,
			.c = c,
		};
	}
	irq_unlock(key);
}

static void trace_begin(void)
{
	trace_len = 0;
	trace_start = k_uptime_get();
}

/* One log line per run of same-direction bytes, gaps over 2 ms split runs. */
static void trace_dump(enum axa_cmd cmd)
{
	static const char *const dir_str[] = {"TX ", "RX ", "ERR"};
	char text[96];
	size_t i = 0;

	if (!BUS_TRACE) {
		return;
	}

	LOG_DBG("Bus trace of %s, %u bytes%s", motion_cmd_str(cmd), trace_len,
		trace_len == TRACE_MAX ? " (full)" : "");

	while (i < trace_len) {
		size_t start = i;
		size_t n = 0;

		while (i < trace_len && trace[i].dir == trace[start].dir &&
		       (i == start || trace[i].ms - trace[i - 1].ms <= 2) && n < sizeof(text) - 5) {
			uint8_t c = trace[i].c;

			if (trace[i].dir == TRACE_ERR) {
				n += snprintk(text + n, sizeof(text) - n, "%02x ", c);
			} else if (c == '\r') {
				n += snprintk(text + n, sizeof(text) - n, "\\r");
			} else if (c == '\n') {
				n += snprintk(text + n, sizeof(text) - n, "\\n");
			} else if (c >= 0x20 && c < 0x7f) {
				text[n++] = c;
			} else {
				n += snprintk(text + n, sizeof(text) - n, "\\x%02x", c);
			}
			i++;
		}
		text[MIN(n, sizeof(text) - 1)] = '\0';
		LOG_DBG("  %5u..%5u ms %s '%s'", trace[start].ms, trace[i - 1].ms,
			dir_str[trace[start].dir], text);
	}
}

static void uart_isr(const struct device *dev, void *user_data)
{
	uint8_t buf[16];

	ARG_UNUSED(user_data);

	while (uart_irq_update(dev) && uart_irq_rx_ready(dev)) {
		int err = uart_err_check(dev);
		int n = uart_fifo_read(dev, buf, sizeof(buf));

		if (err > 0) {
			trace_add(TRACE_ERR, (uint8_t)err);
		}
		if (n <= 0) {
			break;
		}
		for (int i = 0; i < n; i++) {
			trace_add(TRACE_RX, buf[i]);
			(void)k_msgq_put(&rx_q, &buf[i], K_NO_WAIT);
		}
	}
}

/*
 * Bus pull-up first, so DATA idles high before the UART takes the pins; off
 * again after the UART lets go. Without the pull-up DATA floats at about
 * 1.4 V and the AXA neither hears nor answers.
 */
static void uart_power(bool on)
{
	if (on) {
		(void)gpio_pin_set_dt(&bus_power, 1);
		k_msleep(CONFIG_ESPAXA_BUS_POWER_SETTLE_MS);
		(void)pm_device_action_run(uart, PM_DEVICE_ACTION_RESUME);
		uart_irq_rx_enable(uart);
	} else {
		uart_irq_rx_disable(uart);
		(void)pm_device_action_run(uart, PM_DEVICE_ACTION_SUSPEND);
		(void)gpio_pin_set_dt(&bus_power, 0);
	}
}

static void write_str(const char *str)
{
	while (*str) {
		trace_add(TRACE_TX, *str);
		uart_poll_out(uart, *str++);
	}
}

/* Read one non-empty line, returns its length or -1 on timeout. */
/*
 * An awake AXA answers the wake-up CR with "502 Command not implemented",
 * and that reply can outlast WAKE_DELAY_MS. The bus is half-duplex: sending
 * the command before the AXA is done garbles both. So drop everything until
 * the bus has been quiet for WAKE_QUIET_MS.
 */
static void wait_for_quiet_bus(void)
{
	uint8_t c;

	k_msleep(WAKE_DELAY_MS);

	/* Starts after the sleep, the thread may not run for a while at boot */
	k_timepoint_t give_up = sys_timepoint_calc(K_MSEC(WAKE_MAX_MS));

	while (k_msgq_get(&rx_q, &c, K_MSEC(WAKE_QUIET_MS)) == 0) {
		if (sys_timepoint_expired(give_up)) {
			LOG_DBG("Bus still busy after the wake-up CR");
			k_msgq_purge(&rx_q);
			return;
		}
	}
}

static int read_line(char *line, size_t size, k_timepoint_t deadline)
{
	size_t len = 0;
	uint8_t c;

	while (k_msgq_get(&rx_q, &c, sys_timepoint_timeout(deadline)) == 0) {
		if (c == '\r' || c == '\n') {
			if (len > 0) {
				line[len] = '\0';
				return len;
			}
		} else if (len < size - 1) {
			line[len++] = c;
		}
	}
	return -1;
}

/*
 * Wake the AXA with a CR, drop whatever it replied, send the command and
 * wait for a line starting with a status code. Echo and help text is skipped.
 */
/*
 * TX and RX share one bus line, so RX hears everything we send: the wake-up
 * CR's echo is dropped with the AXA's reply to it, the command's echo
 * comes back as a line of its own and is skipped below. No echo at all
 * means the bus line itself is broken, not that the AXA is silent.
 */
static int transact(enum axa_cmd cmd, char *line, size_t size)
{
	int code = CODE_TIMEOUT;
	bool echo_seen = false;

	in_transaction = true;
	activity_update();
	trace_begin();
	uart_power(true);

	for (int attempt = 0; attempt <= MAX_RETRIES && code == CODE_TIMEOUT; attempt++) {
		if (attempt > 0) {
			LOG_DBG("No response to %s, retry %d", motion_cmd_str(cmd), attempt);
		}
		write_str("\r");
		wait_for_quiet_bus();

		write_str(motion_cmd_str(cmd));
		write_str("\r");

		k_timepoint_t deadline = sys_timepoint_calc(K_MSEC(RESPONSE_TIMEOUT_MS));

		while (read_line(line, size, deadline) >= 0) {
			if (isdigit((unsigned char)line[0]) && isdigit((unsigned char)line[1]) &&
			    isdigit((unsigned char)line[2])) {
				code = atoi(line);
				break;
			}
			if (strcmp(line, motion_cmd_str(cmd)) == 0) {
				/* Our own transmission, possibly the AXA's echo too */
				echo_seen = true;
				continue;
			}
			LOG_DBG("Skipping '%s'", line);
		}
	}

	uart_power(false);
	trace_dump(cmd);
	in_transaction = false;
	activity_update();

	if (code == CODE_TIMEOUT && !echo_seen) {
		LOG_WRN("No echo of %s on the bus, check the D9/D10 wiring", motion_cmd_str(cmd));
	}

	if (code == CODE_TIMEOUT) {
		line[0] = '\0';
	}
	LOG_DBG("%s -> %d '%s'", motion_cmd_str(cmd), code, line);

	k_msleep(COMMAND_GAP_MS);
	return code;
}

static int send_cmd(enum axa_cmd cmd)
{
	char line[LINE_MAX];
	int code = transact(cmd, line, sizeof(line));

	if (cmd == CMD_STATUS &&
	    (code == CODE_UNLOCKED || code == CODE_LOCKED || code == CODE_LOCKED_UNSAFE)) {
		lock_cb(code == CODE_LOCKED);
	}
	return code;
}

/* ------------------------------------------------------------------------- */
/* Thread                                                                    */
/* ------------------------------------------------------------------------- */

static int ops_send(void *ctx, enum axa_cmd cmd)
{
	ARG_UNUSED(ctx);
	return send_cmd(cmd);
}

static int ops_report(void *ctx, uint8_t open_percent)
{
	ARG_UNUSED(ctx);
	return position_cb(open_percent);
}

static int64_t ops_now(void *ctx)
{
	ARG_UNUSED(ctx);
	return k_uptime_get();
}

static void ops_sleep(void *ctx, uint32_t ms)
{
	ARG_UNUSED(ctx);
	k_msleep(ms);
}

static const struct motion_config motion_cfg = {
	.unlock_ms = CONFIG_ESPAXA_UNLOCK_DURATION_MS,
	.open_ms = CONFIG_ESPAXA_OPEN_DURATION_MS,
	.lock_ms = CONFIG_ESPAXA_LOCK_DURATION_MS,
	.status_idle_ms = CONFIG_ESPAXA_STATUS_INTERVAL_MS,
	.status_moving_ms = CONFIG_ESPAXA_MOVING_STATUS_INTERVAL_MS,
	.tick_ms = MOTION_TICK_MS,
	.report_interval_ms = REPORT_INTERVAL_MS,
	.bounce_gap_ms = FAILURE_BOUNCE_GAP_MS,
	.release_before_close = IS_ENABLED(CONFIG_ESPAXA_RELEASE_BEFORE_CLOSE),
};

static const struct motion_ops motion_ops = {
	.send = ops_send,
	.report = ops_report,
	.now = ops_now,
	.sleep = ops_sleep,
};

static void axa_thread(void *p1, void *p2, void *p3)
{
	char line[LINE_MAX];
	struct request req;

	ARG_UNUSED(p1);
	ARG_UNUSED(p2);
	ARG_UNUSED(p3);

	if (transact(CMD_DEVICE, line, sizeof(line)) == CODE_DEVICE) {
		LOG_INF("Device: %s", line);
	}
	if (transact(CMD_FIRMWARE, line, sizeof(line)) == CODE_FIRMWARE) {
		LOG_INF("Firmware: %s", line);
	}

	/* Polls STATUS and sends the first report on the first tick */
	motion_init(&motion, &motion_cfg, &motion_ops);

	while (true) {
		int64_t timeout = motion_next_wake(&motion) - k_uptime_get();

		if (k_msgq_get(&request_q, &req, K_MSEC(MAX(timeout, 0))) == 0) {
			if (req.stop) {
				motion_stop(&motion);
			} else {
				motion_move_to(&motion, req.open_percent);
			}
		}
		motion_tick(&motion);
		activity_update();
	}
}

/* ------------------------------------------------------------------------- */
/* API                                                                       */
/* ------------------------------------------------------------------------- */

static void queue_request(const struct request *req)
{
	/* Replace a request that has not been picked up yet */
	if (k_msgq_put(&request_q, req, K_NO_WAIT) != 0) {
		k_msgq_purge(&request_q);
		(void)k_msgq_put(&request_q, req, K_NO_WAIT);
	}
}

void axa_move_to(uint8_t open_percent)
{
	struct request req = {.stop = false, .open_percent = MIN(open_percent, 100)};

	queue_request(&req);
}

void axa_stop(void)
{
	struct request req = {.stop = true};

	queue_request(&req);
}

int axa_init(axa_position_cb_t pos_cb, axa_lock_cb_t lck_cb)
{
	const struct uart_config cfg = {
		.baudrate = 19200,
		.parity = UART_CFG_PARITY_NONE,
		.stop_bits = UART_CFG_STOP_BITS_2,
		.data_bits = UART_CFG_DATA_BITS_8,
		.flow_ctrl = UART_CFG_FLOW_CTRL_NONE,
	};
	int err;

	if (!device_is_ready(uart)) {
		LOG_ERR("AXA UART not ready");
		return -ENODEV;
	}

	if (!gpio_is_ready_dt(&bus_power) ||
	    gpio_pin_configure_dt(&bus_power, GPIO_OUTPUT_INACTIVE) != 0) {
		LOG_ERR("Cannot configure the AXA bus power pin");
		return -ENODEV;
	}

	err = uart_configure(uart, &cfg);
	if (err) {
		LOG_ERR("Cannot configure AXA UART (err %d)", err);
		return err;
	}

	err = uart_irq_callback_set(uart, uart_isr);
	if (err) {
		LOG_ERR("Cannot set AXA UART callback (err %d)", err);
		return err;
	}
	uart_power(false);

	position_cb = pos_cb;
	lock_cb = lck_cb;
	activity_init();

	k_thread_create(&axa_thread_data, axa_stack, K_THREAD_STACK_SIZEOF(axa_stack), axa_thread,
			NULL, NULL, NULL, THREAD_PRIORITY, 0, K_NO_WAIT);
	k_thread_name_set(&axa_thread_data, "axa");

	return 0;
}
```

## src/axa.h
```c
/*
 * AXA Remote 2.0 driver
 *
 * Talks to the AXA over its serial line and estimates the window position
 * from travel time. Runs in its own thread, the functions below only queue a
 * request and are safe to call from the Zigbee thread.
 */

#ifndef AXA_H_
#define AXA_H_

#include <stdbool.h>
#include <stdint.h>

/*
 * Called from the AXA thread whenever the position changes, 0 = closed,
 * 100 = open. Returns 0 when the report was accepted; on an error the same
 * position is offered again later.
 */
typedef int (*axa_position_cb_t)(uint8_t open_percent);

/*
 * Called from the AXA thread after each STATUS reply: true only for 211
 * Strong Locked, false for unlocked and for 212 (closed, not fully locked).
 */
typedef void (*axa_lock_cb_t)(bool strong_locked);

int axa_init(axa_position_cb_t position_cb, axa_lock_cb_t lock_cb);

/* Move to a position, 0 = closed (and locked), 100 = fully open. */
void axa_move_to(uint8_t open_percent);
void axa_stop(void);

/*
 * Time since the AXA was last busy (a serial exchange or a move), 0 while it
 * is busy and until the boot exchange is over. Safe from any thread.
 */
uint32_t axa_quiet_ms(void);

#endif /* AXA_H_ */
```

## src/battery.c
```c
/*
 * Battery voltage measurement, see battery.h
 */

#include "battery.h"

#include "axa.h"

#include <zephyr/device.h>
#include <zephyr/drivers/sensor.h>
#include <zephyr/kernel.h>
#include <zephyr/logging/log.h>

LOG_MODULE_REGISTER(battery, CONFIG_ESPAXA_LOG_LEVEL);

/* The first reading, once the AXA's boot exchange is over */
#define FIRST_MEASUREMENT_MS 20000
/* The pack recovers from the motor's load within about a minute */
#define QUIET_BEFORE_MEASURING_MS 60000
/* Retry interval while the AXA is busy or was busy recently */
#define RETRY_MS 30000

static const struct device *const divider = DEVICE_DT_GET(DT_NODELABEL(vbatt));
static battery_cb_t battery_cb;

static void measure(struct k_work *work)
{
	struct k_work_delayable *dwork = k_work_delayable_from_work(work);
	struct sensor_value value;
	int err;

	if (axa_quiet_ms() < QUIET_BEFORE_MEASURING_MS) {
		k_work_schedule(dwork, K_MSEC(RETRY_MS));
		return;
	}

	err = sensor_sample_fetch(divider);
	if (err == 0) {
		err = sensor_channel_get(divider, SENSOR_CHAN_VOLTAGE, &value);
	}
	if (err == 0) {
		int pack_mv = value.val1 * 1000 + value.val2 / 1000;

		battery_cb(pack_mv);
	} else {
		LOG_WRN("Cannot read the battery voltage (err %d)", err);
	}

	k_work_schedule(dwork, K_MSEC(CONFIG_ESPAXA_BATTERY_INTERVAL_MS));
}

static K_WORK_DELAYABLE_DEFINE(measure_work, measure);

int battery_init(battery_cb_t cb)
{
	if (!device_is_ready(divider)) {
		LOG_ERR("Battery voltage divider not ready");
		return -ENODEV;
	}
	battery_cb = cb;
	k_work_schedule(&measure_work, K_MSEC(FIRST_MEASUREMENT_MS));
	return 0;
}
```

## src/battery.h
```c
/*
 * Battery voltage measurement
 *
 * Reads the NiMH pack through the voltage divider on D0 (devicetree node
 * vbatt) every CONFIG_ESPAXA_BATTERY_INTERVAL_MS, but only once the AXA has
 * been quiet for a while: the pack is shared with the motor and sags while
 * it runs.
 */

#ifndef BATTERY_H_
#define BATTERY_H_

/* Called from the system work queue with the pack voltage in mV. */
typedef void (*battery_cb_t)(int pack_mv);

int battery_init(battery_cb_t cb);

#endif /* BATTERY_H_ */
```

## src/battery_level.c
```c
/*
 * NiMH state of charge from voltage, see battery_level.h
 *
 * Rest voltage per cell at light load (the XIAO, AXA idle). Fresh off the
 * charger a cell reads up to about 1.45 V, which settles within a day; under
 * 1.0 V it is empty. Points in between follow a typical NiMH discharge curve
 * at a low rate. Calibrate against the real pack (TESTING.md).
 */

#include "battery_level.h"

static const struct {
	int cell_mv;
	uint8_t percent;
} curve[] = {
	{1380, 100},
	{1300, 90},
	{1260, 75},
	{1230, 55},
	{1200, 35},
	{1160, 20},
	{1120, 10},
	{1080, 5},
	{1000, 0},
};

#define CURVE_POINTS (sizeof(curve) / sizeof(curve[0]))

uint8_t battery_level_percent(int cell_mv)
{
	if (cell_mv >= curve[0].cell_mv) {
		return curve[0].percent;
	}
	for (unsigned int i = 1; i < CURVE_POINTS; i++) {
		if (cell_mv >= curve[i].cell_mv) {
			int span_mv = curve[i - 1].cell_mv - curve[i].cell_mv;
			int span_pct = curve[i - 1].percent - curve[i].percent;
			int above = cell_mv - curve[i].cell_mv;

			/* Linear between the two points, rounded */
			return (uint8_t)(curve[i].percent + (above * span_pct + span_mv / 2) / span_mv);
		}
	}
	return 0;
}
```
